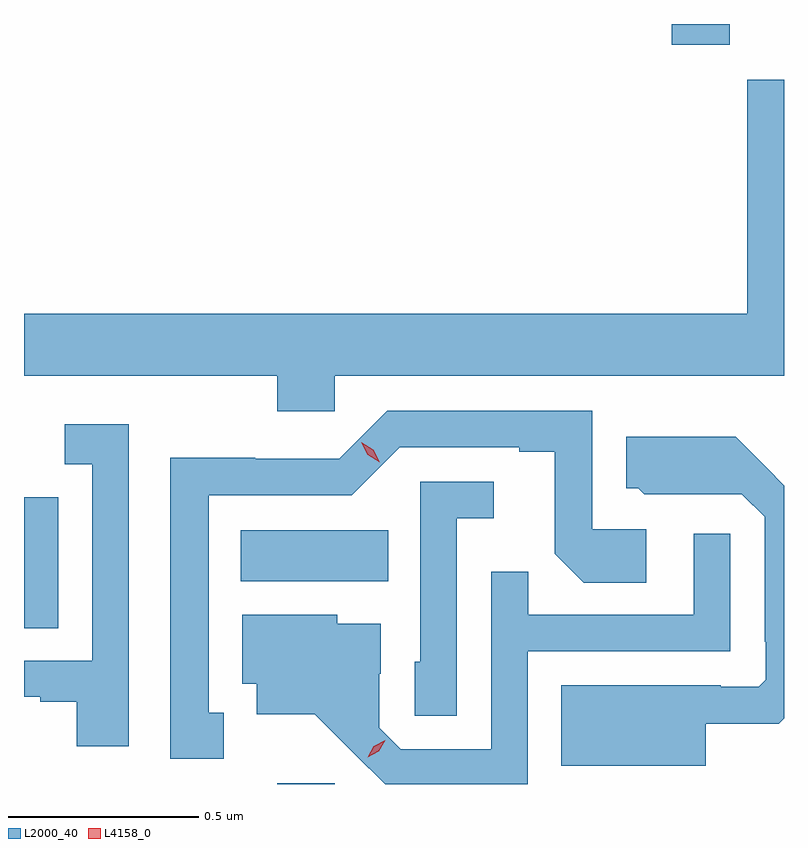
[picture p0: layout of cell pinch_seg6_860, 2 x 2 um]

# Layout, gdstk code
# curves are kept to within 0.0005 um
import gdstk
lib = gdstk.Library(unit=1e-6, precision=1e-09)
def R(c, l, rs):  # rectangles x0, y0, x1, y1
    for r in rs: c.add(gdstk.rectangle(r[:2], r[2:], *l))
def P(c, l, *ps):  # polygons
    for p in ps: c.add(gdstk.Polygon(p, *l))
L2000_40 = (2000, 40)
L4158_0 = (4158, 0)

pinch_seg6_860 = lib.new_cell('pinch_seg6_860')
R(pinch_seg6_860, L2000_40, [(127.253,967.574,127.404,967.576), (126.586,967.984,126.676,968.328), (127.157,968.108,127.544,968.242), (128.291,969.519,128.443,969.574)])
P(pinch_seg6_860, L2000_40, [(127.404,968.648),(128.586,968.648),(128.586,969.427),(128.489,969.427),(128.489,968.812),(126.586,968.812),(126.586,968.648),(127.253,968.648),(127.253,968.555),(127.404,968.555)],
  [(127.111,967.761),(127.072,967.761),(127.072,968.334),(127.449,968.334),(127.575,968.46),(127.889,968.46),(127.889,968.448),(127.983,968.448),(127.983,968.18),(128.059,968.104),(128.224,968.104),(128.224,968.244),(128.082,968.244),(128.082,968.556),(127.542,968.556),(127.416,968.43),(127.194,968.43),(127.194,968.432),(126.971,968.432),(126.971,967.641),(127.111,967.641)],
  [(126.861,968.521),(126.693,968.521),(126.693,968.415),(126.765,968.415),(126.765,967.899),(126.586,967.899),(126.586,967.803),(126.629,967.803),(126.629,967.791),(126.725,967.791),(126.725,967.674),(126.861,967.674)],
  [(128.38,967.733),(128.572,967.733),(128.586,967.747),(128.586,968.359),(128.459,968.488),(128.171,968.488),(128.171,968.352),(128.202,968.352),(128.218,968.336),(128.352,968.336),(128.352,968.337),(128.475,968.337),(128.535,968.277),(128.535,967.948),(128.538,967.948),(128.538,967.848),(128.52,967.83),(128.42,967.83),(128.42,967.834),(128,967.834),(128,967.622),(128.38,967.622)],
  [(127.725,968.273),(127.822,968.273),(127.822,968.37),(127.629,968.37),(127.629,967.896),(127.614,967.896),(127.614,967.753),(127.725,967.753)],
  [(127.911,967.923),(128.445,967.923),(128.445,968.233),(128.349,968.233),(128.349,968.019),(127.913,968.019),(127.913,968.132),(127.815,968.132),(127.815,967.665),(127.578,967.665),(127.521,967.722),(127.521,967.864),(127.525,967.864),(127.525,967.996),(127.41,967.996),(127.41,968.02),(127.16,968.02),(127.16,967.838),(127.199,967.838),(127.199,967.757),(127.351,967.757),(127.536,967.574),(127.911,967.574)])
P(pinch_seg6_860, L4158_0, [(127.49,967.644),(127.49,967.644),(127.506,967.674),(127.537,967.689),(127.537,967.689),(127.537,967.689),(127.52,967.66),(127.49,967.644)],
  [(127.522,968.421),(127.491,968.44),(127.474,968.473),(127.474,968.473),(127.474,968.473),(127.505,968.454),(127.522,968.421),(127.522,968.421)])

lib.write_gds('pinch_seg6_860.gds')
